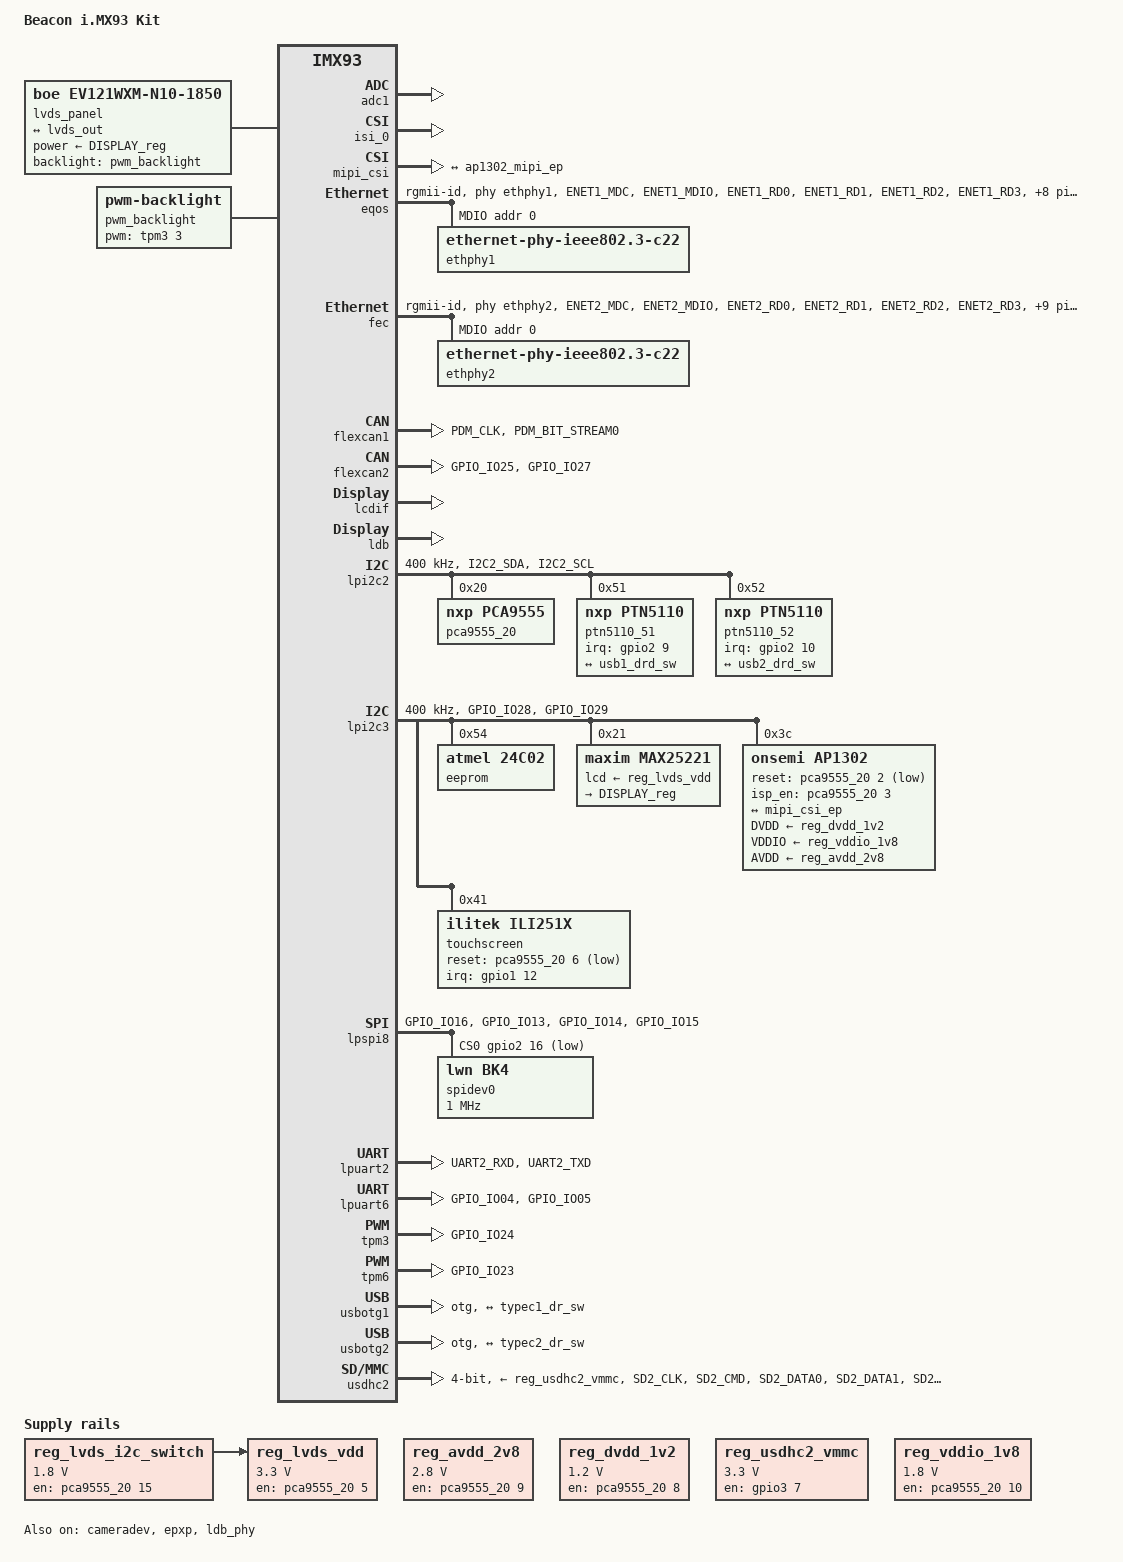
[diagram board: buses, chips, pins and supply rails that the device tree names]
// SPDX-License-Identifier: (GPL-2.0+ OR MIT)
/*
 * Copyright 2022 NXP
 */

/dts-v1/;

#include <dt-bindings/usb/pd.h>
#include <dt-bindings/pwm/pwm.h>
#include "imx93-beacon-som.dtsi"

/ {
	model = "Beacon i.MX93 Kit";

	aliases {
		rtc0 = &rtc_i2c;
		rtc1 = &bbnsm_rtc;
	};

	gpio_backlight: gpio_backlight {
		compatible = "gpio-backlight";
		pinctrl-names = "default";
		pinctrl-0 = <&pinctrl_backlight_gpio>;
		gpios = <&gpio2 24 GPIO_ACTIVE_HIGH>;
		default-on;
		status = "disabled";
	};

	lvds_panel {
		compatible = "boe,ev121wxm-n10-1850";
		backlight = <&pwm_backlight>;
		power-supply = <&DISPLAY_reg>;

		port {
			panel_lvds_in: endpoint {
				remote-endpoint = <&lvds_out>;
			};
		};
	};

	pwm_backlight: pwm_backlight {
		compatible = "pwm-backlight";
		pwms = <&tpm3 3 5000000 0>; // 200 Hz
		brightness-levels = <0 100>;
		num-interpolated-steps = <100>;
		default-brightness-level = <80>;
		status = "okay";
	};

	reg_lvds_i2c_switch: regulator-lvds-i2c-switch {
		compatible = "regulator-fixed";
		regulator-name = "lvds_i2c_sw";
		regulator-min-microvolt = <1800000>;
		regulator-max-microvolt = <1800000>;
		gpio = <&pca9555_20 15 GPIO_ACTIVE_HIGH>;
		enable-active-high;
		regulator-always-on;
		status = "okay";
	};

	reg_lvds_vdd: regulator-lvds-vdd {
		compatible = "regulator-fixed";
		regulator-name = "lvds_vdd";
		regulator-min-microvolt = <3300000>;
		regulator-max-microvolt = <3300000>;
		gpio = <&pca9555_20 5 GPIO_ACTIVE_HIGH>;
		enable-active-high;
		regulator-always-on;
		vin-supply = <&reg_lvds_i2c_switch>;
		status = "okay";
	};

	reg_avdd_2v8: regulator-avdd {
		compatible = "regulator-fixed";
		regulator-name = "AVDD_2V8";
		regulator-min-microvolt = <2800000>;
		regulator-max-microvolt = <2800000>;
		gpio = <&pca9555_20 9 GPIO_ACTIVE_HIGH>;
		enable-active-high;
	};

	reg_dvdd_1v2: regulator-dvdd {
		compatible = "regulator-fixed";
		regulator-name = "DVDD_1V2";
		regulator-min-microvolt = <1200000>;
		regulator-max-microvolt = <1200000>;
		gpio = <&pca9555_20 8 GPIO_ACTIVE_HIGH>;
		enable-active-high;
	};

	reg_usdhc2_vmmc: regulator-usdhc2 {
		pinctrl-names = "default";
		pinctrl-0 = <&pinctrl_usdhc2_reg>;
		compatible = "regulator-fixed";
		regulator-name = "SDIO_A_PWR_EN";
		regulator-min-microvolt = <3300000>;
		regulator-max-microvolt = <3300000>;
		gpio = <&gpio3 7 GPIO_ACTIVE_HIGH>;
		off-on-delay-us = <12000>;
		enable-active-high;
	};

	reg_vddio_1v8: regulator-vddio {
		compatible = "regulator-fixed";
		regulator-name = "VDDIO_1V8";
		regulator-min-microvolt = <1800000>;
		regulator-max-microvolt = <1800000>;
		gpio = <&pca9555_20 10 GPIO_ACTIVE_HIGH>;
		enable-active-high;
	};
};

&adc1 {
	status = "okay";
};

&cameradev {
	status = "okay";
};

&dphy {
	status = "disabled";
};

&dsi {
	status = "disabled";
};

&isi_0 {
	status = "okay";

	cap_device {
		status = "okay";
	};
};

&mipi_csi {
	status = "okay";

	port {
		mipi_csi_ep: endpoint {
			remote-endpoint = <&ap1302_mipi_ep>;
			data-lanes = <2>;
			cfg-clk-range = <28>;
			hs-clk-range = <0x2b>;
			bus-type = <4>;
		};
	};
};

&epxp {
	status = "okay";
};

&eqos {
	pinctrl-names = "default";
	pinctrl-0 = <&pinctrl_eqos>;
	phy-mode = "rgmii-id";
	phy-handle = <&ethphy1>;
	snps,reset-gpios = <&pca9555_20 0 GPIO_ACTIVE_LOW>;
	snps,reset-delays-us = <10 20 200000>;
	status = "okay";

	mdio {
		compatible = "snps,dwmac-mdio";
		#address-cells = <1>;
		#size-cells = <0>;
		clock-frequency = <5000000>;

		ethphy1: ethernet-phy@0 {
			compatible = "ethernet-phy-ieee802.3-c22";
			reg = <0>;
			eee-broken-1000t;
		};
	};
};

&fec {
	pinctrl-names = "default";
	pinctrl-0 = <&pinctrl_fec>;
	phy-mode = "rgmii-id";
	phy-handle = <&ethphy2>;
	fsl,magic-packet;
	phy-reset-gpios = <&pca9555_20 1 GPIO_ACTIVE_LOW>;
	phy-reset-duration = <10>;
	phy-reset-post-delay = <150>;
	status = "okay";

	mdio {
		#address-cells = <1>;
		#size-cells = <0>;
		clock-frequency = <5000000>;

		ethphy2: ethernet-phy@0 {
			compatible = "ethernet-phy-ieee802.3-c22";
			reg = <0>;
			eee-broken-1000t;
		};
	};
};

&flexcan1 {
	pinctrl-names = "default";
	pinctrl-0 = <&pinctrl_flexcan1>;
	status = "okay";
};

&flexcan2 {
	pinctrl-names = "default";
	pinctrl-0 = <&pinctrl_flexcan2>;
	status = "okay";
};

&lcdif {
	assigned-clock-rates = <498000000>, <71142857>, <400000000>, <133333333>;
	status = "okay";
};

&ldb {
	status = "okay";

	lvds-channel@0 {
		status = "okay";

		port@1 {
			reg = <1>;

			lvds_out: endpoint {
				remote-endpoint = <&panel_lvds_in>;
			};
		};
	};
};

&ldb_phy {
	status = "okay";
};

&lpi2c2 {
	#address-cells = <1>;
	#size-cells = <0>;
	clock-frequency = <400000>;
	pinctrl-names = "default", "sleep";
	pinctrl-0 = <&pinctrl_lpi2c2>;
	pinctrl-1 = <&pinctrl_lpi2c2>;
	status = "okay";

	pca9555_20: pca9555@20 {
		compatible = "nxp,pca9555";
		gpio-controller;
		#gpio-cells = <2>;
		reg = <0x20>;
		gpio-line-names =
			"pca9555_20-0",	"pca9555_20-1",	"pca9555_20-2",	"pca9555_20-3",		// 0-3
			"pca9555_20-4",	"pca9555_20-5",	"pca9555_20-6",	"pca9555_20-7",		// 4-7
			"pca9555_20-8",	"pca9555_20-9",	"pca9555_20-10","pca9555_20-11",	// 8-11
			"pca9555_20-12","pca9555_20-13","pca9555_20-14","pca9555_20-15";	// 12-15
	};

	ptn5110_51: tcpc@51 {
		compatible = "nxp,ptn5110";
		reg = <0x51>;
		pinctrl-names = "default";
		pinctrl-0 = <&pinctrl_ptn5110_51>;
		interrupt-parent = <&gpio2>;
		interrupts = <9 IRQ_TYPE_LEVEL_LOW>;
		status = "okay";

		port {
			typec1_dr_sw: endpoint {
				remote-endpoint = <&usb1_drd_sw>;
			};
		};

		connector {
			compatible = "usb-c-connector";
			label = "USB-C(A)";
			power-role = "dual";
			data-role = "dual";
			try-power-role = "sink";
			source-pdos = <PDO_FIXED(5000, 3000, PDO_FIXED_USB_COMM)>;
			sink-pdos = <PDO_FIXED(5000, 3000, PDO_FIXED_USB_COMM)
					PDO_VAR(5000, 20000, 3000)>;
			op-sink-microwatt = <15000000>;
			self-powered;
		};
	};

	ptn5110_52: tcpc@52 {
		compatible = "nxp,ptn5110";
		reg = <0x52>;
		pinctrl-names = "default";
		pinctrl-0 = <&pinctrl_ptn5110_52>;
		interrupt-parent = <&gpio2>;
		interrupts = <10 IRQ_TYPE_LEVEL_LOW>;
		status = "okay";

		port {
			typec2_dr_sw: endpoint {
				remote-endpoint = <&usb2_drd_sw>;
			};
		};

		connector {
			compatible = "usb-c-connector";
			label = "USB-C(C)";
			power-role = "dual";
			data-role = "dual";
			try-power-role = "sink";
			source-pdos = <PDO_FIXED(5000, 3000, PDO_FIXED_USB_COMM)>;
			sink-pdos = <PDO_FIXED(5000, 3000, PDO_FIXED_USB_COMM)
					PDO_VAR(5000, 20000, 3000)>;
			op-sink-microwatt = <15000000>;
			self-powered;
		};
	};
};

&lpi2c3 {
	#address-cells = <1>;
	#size-cells = <0>;
	clock-frequency = <400000>;
	pinctrl-names = "default", "sleep";
	pinctrl-0 = <&pinctrl_lpi2c3>;
	pinctrl-1 = <&pinctrl_lpi2c3>;
	status = "okay";

	/* eeprom on display */
	eeprom@54 {
		compatible = "atmel,24c02";
		reg = <0x54>;
		pagesize = <16>;
	};

	max25221: max25221@21 {
		compatible = "maxim,max25221";
		reg = <0x21>;
		lcd-supply = <&reg_lvds_vdd>;
		status = "okay";

		regulators {
			DISPLAY_reg: DISPLAY {
				regulator-name = "DISPLAY";
			};
		};
	};

	ap1302: ap1302_mipi@3c {
		compatible = "onsemi,ap1302";
		reg = <0x3c>;
		reset-gpios = <&pca9555_20 2 GPIO_ACTIVE_LOW>;
		isp_en-gpios = <&pca9555_20 3 GPIO_ACTIVE_HIGH>;
		DVDD-supply = <&reg_dvdd_1v2>;
		VDDIO-supply = <&reg_vddio_1v8>;
		AVDD-supply = <&reg_avdd_2v8>;
		status = "okay";

		port {
			ap1302_mipi_ep: endpoint {
				remote-endpoint = <&mipi_csi_ep>;
			};
		};
	};

	touchscreen@41 {
		compatible = "ilitek,ili251x";
		reg = <0x41>;
		pinctrl-names = "default";
		pinctrl-0 = <&pinctrl_cap_touch>;
		interrupt-parent = <&gpio1>;
		interrupts = <12 IRQ_TYPE_EDGE_FALLING>;
		reset-gpios = <&pca9555_20 6 GPIO_ACTIVE_LOW>;
		status = "okay";
	};
};

&lpspi8 {
	fsl,spi-num-chipselects = <1>;
	pinctrl-names = "default", "sleep";
	pinctrl-0 = <&pinctrl_lpspi8>;
	pinctrl-1 = <&pinctrl_lpspi8>;
	cs-gpios = <&gpio2 16 GPIO_ACTIVE_LOW>;
	status = "okay";

	spidev0: spi@0 {
		reg = <0>;
		compatible = "lwn,bk4";
		spi-max-frequency = <1000000>;
	};
};

&lpuart2 { /* Mikrobus UART */
	pinctrl-names = "default";
	pinctrl-0 = <&pinctrl_uart2>;
	status = "okay";
};

&lpuart6 {
	pinctrl-names = "default";
	pinctrl-0 = <&pinctrl_uart6>;
	status = "okay";
};

&tpm3 {
	pinctrl-names = "default";
	pinctrl-0 = <&pinctrl_backlight_pwm>;
	status = "okay";
};

&tpm6 {
	pinctrl-names = "default";
	pinctrl-0 = <&pinctrl_tpm6>;
	status = "okay";
};

&usbotg1 {
	dr_mode = "otg";
	hnp-disable;
	srp-disable;
	adp-disable;
	usb-role-switch;
	disable-over-current;
	samsung,picophy-pre-emp-curr-control = <3>;
	samsung,picophy-dc-vol-level-adjust = <7>;
	status = "okay";

	port {
		usb1_drd_sw: endpoint {
			remote-endpoint = <&typec1_dr_sw>;
		};
	};
};

&usbotg2 {
	dr_mode = "otg";
	hnp-disable;
	srp-disable;
	adp-disable;
	usb-role-switch;
	disable-over-current;
	samsung,picophy-pre-emp-curr-control = <3>;
	samsung,picophy-dc-vol-level-adjust = <7>;
	status = "okay";

	port {
		usb2_drd_sw: endpoint {
			remote-endpoint = <&typec2_dr_sw>;
		};
	};
};

&usdhc2 {
	pinctrl-names = "default", "state_100mhz", "state_200mhz";
	pinctrl-0 = <&pinctrl_usdhc2>, <&pinctrl_usdhc2_gpio>;
	pinctrl-1 = <&pinctrl_usdhc2>, <&pinctrl_usdhc2_gpio>;
	pinctrl-2 = <&pinctrl_usdhc2>, <&pinctrl_usdhc2_gpio>;
	vmmc-supply = <&reg_usdhc2_vmmc>;
	cd-gpios = <&gpio3 00 GPIO_ACTIVE_LOW>;
	bus-width = <4>;
	status = "okay";
	no-sdio;
	no-mmc;
};

&iomuxc {

	pinctrl_backlight_gpio: backlight-gpiogrp {
		fsl,pins = <
			MX93_PAD_GPIO_IO24__GPIO2_IO24		0x31e
		>;
	};

	pinctrl_backlight_pwm: backlight-pwmgrp {
		fsl,pins = <
			MX93_PAD_GPIO_IO24__TPM3_CH3		0x2
		>;
	};

	pinctrl_cap_touch: cap_touch {
		fsl,pins = <
			MX93_PAD_SAI1_TXC__GPIO1_IO12		0x31e	/* PCAP_LVDS_nINT */
		>;
	};

	pinctrl_eqos: eqosgrp {
		fsl,pins = <
			MX93_PAD_ENET1_MDC__ENET_QOS_MDC					0x50e
			MX93_PAD_ENET1_MDIO__ENET_QOS_MDIO					0x50e
			MX93_PAD_ENET1_RD0__ENET_QOS_RGMII_RD0					0x51e
			MX93_PAD_ENET1_RD1__ENET_QOS_RGMII_RD1					0x51e
			MX93_PAD_ENET1_RD2__ENET_QOS_RGMII_RD2					0x51e
			MX93_PAD_ENET1_RD3__ENET_QOS_RGMII_RD3					0x51e
			MX93_PAD_ENET1_RXC__CCM_ENET_QOS_CLOCK_GENERATE_RX_CLK		0x51e
			MX93_PAD_ENET1_RX_CTL__ENET_QOS_RGMII_RX_CTL				0x51e
			MX93_PAD_ENET1_TD0__ENET_QOS_RGMII_TD0					0x51e
			MX93_PAD_ENET1_TD1__ENET_QOS_RGMII_TD1					0x51e
			MX93_PAD_ENET1_TD2__ENET_QOS_RGMII_TD2					0x51e
			MX93_PAD_ENET1_TD3__ENET_QOS_RGMII_TD3					0x51e
			MX93_PAD_ENET1_TXC__CCM_ENET_QOS_CLOCK_GENERATE_TX_CLK		0x51e
			MX93_PAD_ENET1_TX_CTL__ENET_QOS_RGMII_TX_CTL				0x51e
		>;
	};

	pinctrl_fec: fecgrp {
		fsl,pins = <
			MX93_PAD_ENET2_MDC__ENET1_MDC				0x50e
			MX93_PAD_ENET2_MDIO__ENET1_MDIO				0x50e
			MX93_PAD_ENET2_RD0__ENET1_RGMII_RD0			0x51e
			MX93_PAD_ENET2_RD1__ENET1_RGMII_RD1			0x51e
			MX93_PAD_ENET2_RD2__ENET1_RGMII_RD2			0x51e
			MX93_PAD_ENET2_RD3__ENET1_RGMII_RD3			0x51e
			MX93_PAD_ENET2_RXC__ENET1_RGMII_RXC			0x51e
			MX93_PAD_ENET2_RX_CTL__ENET1_RGMII_RX_CTL		0x51e
			MX93_PAD_ENET2_TD0__ENET1_RGMII_TD0			0x51e
			MX93_PAD_ENET2_TD1__ENET1_RGMII_TD1			0x51e
			MX93_PAD_ENET2_TD2__ENET1_RGMII_TD2			0x51e
			MX93_PAD_ENET2_TD3__ENET1_RGMII_TD3			0x51e
			MX93_PAD_ENET2_TXC__ENET1_RGMII_TXC			0x51e
			MX93_PAD_ENET2_TX_CTL__ENET1_RGMII_TX_CTL		0x51e
		>;
	};

	pinctrl_flexcan1: flexcan1grp {
		fsl,pins = <
			MX93_PAD_PDM_CLK__CAN1_TX			0x139e
			MX93_PAD_PDM_BIT_STREAM0__CAN1_RX		0x139e
		>;
	};

	pinctrl_flexcan2: flexcan2grp {
		fsl,pins = <
			MX93_PAD_GPIO_IO25__CAN2_TX			0x139e
			MX93_PAD_GPIO_IO27__CAN2_RX			0x139e
		>;
	};

	pinctrl_lpi2c2: lpi2c2grp {
		fsl,pins = <
			MX93_PAD_I2C2_SDA__LPI2C2_SDA			0x40000b9e
			MX93_PAD_I2C2_SCL__LPI2C2_SCL			0x40000b9e
		>;
	};

	pinctrl_lpi2c3: lpi2c3grp {
		fsl,pins = <
			MX93_PAD_GPIO_IO28__LPI2C3_SDA			0x40000b9e
			MX93_PAD_GPIO_IO29__LPI2C3_SCL			0x40000b9e
		>;
	};

	pinctrl_lpspi8: lpspi8grp {
		fsl,pins = <
			MX93_PAD_GPIO_IO16__GPIO2_IO16			0x3fe
			MX93_PAD_GPIO_IO13__LPSPI8_SIN			0x3fe
			MX93_PAD_GPIO_IO14__LPSPI8_SOUT			0x3fe
			MX93_PAD_GPIO_IO15__LPSPI8_SCK			0x3fe
		>;
	};

	pinctrl_ptn5110_51: ptn5110_51grp {
		fsl,pins = <
			MX93_PAD_GPIO_IO09__GPIO2_IO09			0x31e
		>;
	};

	pinctrl_ptn5110_52: ptn5110_52grp {
		fsl,pins = <
			MX93_PAD_GPIO_IO10__GPIO2_IO10			0x31e
		>;
	};

	pinctrl_tpm6: tpm6grp {
		fsl,pins = <
			MX93_PAD_GPIO_IO23__TPM6_CH1			0x31e
		>;
	};

	pinctrl_uart2: uart2grp {
		fsl,pins = <
			MX93_PAD_UART2_RXD__LPUART2_RX			0x31e
			MX93_PAD_UART2_TXD__LPUART2_TX			0x31e
		>;
	};

	pinctrl_uart6: uart6grp {
		fsl,pins = <
			MX93_PAD_GPIO_IO04__LPUART6_TX			0x31e
			MX93_PAD_GPIO_IO05__LPUART6_RX			0x31e
		>;
	};

	pinctrl_usdhc2: usdhc2grp {
		fsl,pins = <
			MX93_PAD_SD2_CLK__USDHC2_CLK		0x15fe
			MX93_PAD_SD2_CMD__USDHC2_CMD		0x400013fe
			MX93_PAD_SD2_DATA0__USDHC2_DATA0	0x400013fe
			MX93_PAD_SD2_DATA1__USDHC2_DATA1	0x400013fe
			MX93_PAD_SD2_DATA2__USDHC2_DATA2	0x400013fe
			MX93_PAD_SD2_DATA3__USDHC2_DATA3	0x400013fe
			MX93_PAD_SD2_VSELECT__USDHC2_VSELECT	0x51e
		>;
	};

	pinctrl_usdhc2_gpio: usdhc2gpiogrp {
		fsl,pins = <
			MX93_PAD_SD2_CD_B__GPIO3_IO00		0x31e
		>;
	};

	pinctrl_usdhc2_reg: usdhc2reggrp {
		fsl,pins = <
			MX93_PAD_SD2_RESET_B__GPIO3_IO07	0x31e /* SDIO_A_PWR_EN */
		>;
	};
};
